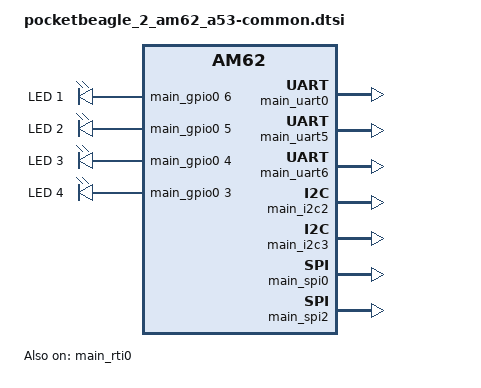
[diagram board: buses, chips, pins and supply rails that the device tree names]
/*
 * Copyright (c) 2025 Ayush Singh, BeagleBoard.org Foundation
 *
 * SPDX-License-Identifier: Apache-2.0
 */

#include "pocketbeagle_2_am62_a53-pinctrl.dtsi"

/ {
	chosen {
		zephyr,console = &main_uart6;
		zephyr,shell-uart = &main_uart6;
	};

	aliases {
		led0 = &led1;
		watchdog0 = &main_rti0;
	};

	leds: leds {
		compatible = "gpio-leds";

		led1: led_1 {
			gpios = <&main_gpio0 6 GPIO_ACTIVE_HIGH>;
			label = "LED 1";
		};

		led2: led_2 {
			gpios = <&main_gpio0 5 GPIO_ACTIVE_HIGH>;
			label = "LED 2";
		};

		led3: led_3 {
			gpios = <&main_gpio0 4 GPIO_ACTIVE_HIGH>;
			label = "LED 3";
		};

		led4: led_4 {
			gpios = <&main_gpio0 3 GPIO_ACTIVE_HIGH>;
			label = "LED 4";
		};
	};
};

&main_uart0 {
	pinctrl-0 = <&P1_30_uart0_tx &P1_32_uart0_rx>;
	pinctrl-names = "default";
	status = "okay";
};

&main_uart5 {
	pinctrl-0 = <&P2_07_E15_uart5_tx &P2_05_C15_uart5_rx>;
	pinctrl-names = "default";
	status = "okay";
};

&main_uart6 {
	pinctrl-0 = <&main_uart6_rx_default &main_uart6_tx_default>;
	pinctrl-names = "default";
	status = "okay";
};

&main_i2c2 {
	pinctrl-0 = <&main_i2c2_sda_default &main_i2c2_scl_default>;
	pinctrl-names = "default";
	status = "okay";
};

&main_i2c3 {
	pinctrl-0 = <&P2_09_A15_i2c3_scl &P2_11_B15_i2c3_sda>;
	pinctrl-names = "default";
	status = "okay";
};

&main_gpio0_0 {
	pinctrl-0 = <&led_pins_default>;
	pinctrl-names = "default";
	status = "okay";
};

&main_gpio0_1 {
	status = "okay";
};

&main_gpio0_2 {
	status = "okay";
};

&main_gpio1_0 {
	status = "okay";
};

&main_gpio1_1 {
	status = "okay";
};

&main_rti0 {
	status = "okay";
};

&main_spi0 {
	pinctrl-0 = <&main_spi0_default>;
	pinctrl-names = "default";
	status = "okay";
};

&main_spi2 {
	pinctrl-0 = <&main_spi2_default>;
	pinctrl-names = "default";
	status = "okay";
};
